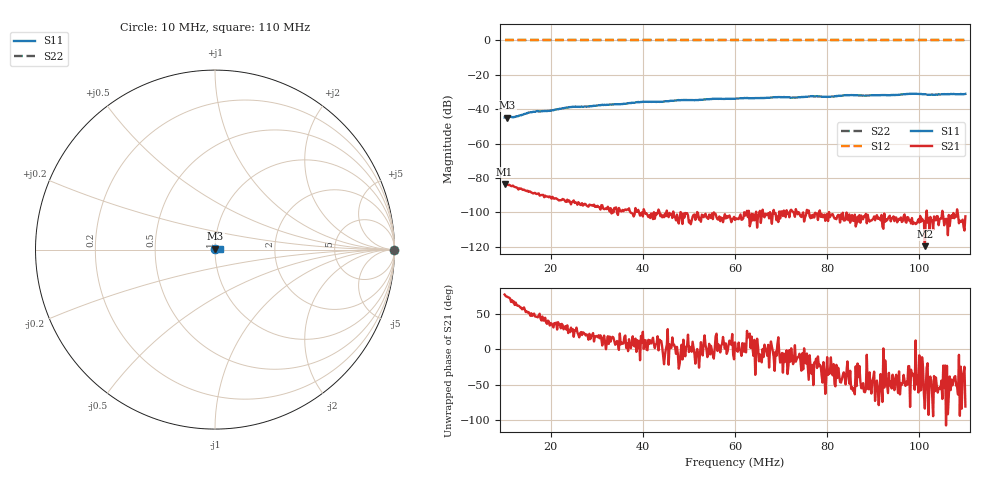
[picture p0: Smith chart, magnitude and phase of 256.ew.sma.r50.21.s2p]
! Anritsu VNA Master:  Model: MS2036C/10/77
! SN:  1601066
! /card0/usr/256.ew.sma.r50.21.s2p
! Existing Calibration Information:
! TYPE:  Current Settings,  Active Cal Settings
! TIME:  12/19/2017 02:42:59 PM,  12/19/2017 02:22:10 PM
! INTERNAL TEMP:  46.3 C,  45.0 C
! # POINTS:  501,  501
! START FREQ:  10.000 MHz,  10.000 MHz
! STOP FREQ:  110.000 MHz,  110.000 MHz
! SOURCE POWER:  High,  High
! IFBW:  100 Hz,  100 Hz
! AVG FACTOR:  1 ,  1
! REF PLANE 1:  0 mm,  0 mm
! REF PLANE 2:  0 mm,  0 mm
! CAL TYPE:  Full S11,  Full S11
! CAL METHOD:  SOLT,  SOLT
! CAL LINE TYPE:  Coax,  Coax
! DUT PORT 1:  N-Conn(F),  N-Conn(F)
! DUT PORT 2:  K-Conn(F),  K-Conn(F)
! CAL STATUS:  OK: Accuracy High,  --
# GHZ S DB R 50.0
! FREQ.GHZ  S11DB  S11A  S21DB  S21A  S12DB  S12A  S22DB  S22A
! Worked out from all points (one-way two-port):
!   501 points, 10 MHz to 110 MHz, reference 50 ohm
!   highest |S21| = -83.42 dB at 10 MHz (marker M1); lowest = -119.7 dB at 101.2 MHz (marker M2)
!   lowest |S11| = -44.8 dB at 10.6 MHz (marker M3), VSWR 1.01, Z = 50.2 + j0.521 ohm
!   |S11| at or under -10 dB: start of sweep to end of sweep
!   |S22| runs from 0.0 to 0.0 dB; largest |S21 - S12| = 1
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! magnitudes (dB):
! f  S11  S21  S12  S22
! 10 MHz  -44.8  -83.4  0.0  0.0
! 10.6 MHz  -44.8  -83.9  0.0  0.0
! 12.2 MHz  -44.5  -85.2  0.0  0.0
! 15.2 MHz  -41.9  -88.1  0.0  0.0
! 16.6 MHz  -41.4  -88.7  0.0  0.0
! 20 MHz  -40.8  -91.3  0.0  0.0
! 24.4 MHz  -38.7  -95.4  0.0  0.0
! 26.8 MHz  -38.5  -94.6  0.0  0.0
! 35.2 MHz  -37.0  -99.3  0.0  0.0
! 40 MHz  -35.7  -102.4  0.0  0.0
! 43.4 MHz  -35.6  -98.4  0.0  0.0
! 48 MHz  -34.8  -102.8  0.0  0.0
! 60 MHz  -33.9  -104.4  0.0  0.0
! 69.6 MHz  -32.9  -99.5  0.0  0.0
! 72.6 MHz  -33.2  -99.7  0.0  0.0
! 76.8 MHz  -32.4  -103.1  0.0  0.0
! 79.8 MHz  -32.7  -101.4  0.0  0.0
! 84.4 MHz  -31.8  -103.1  0.0  0.0
! 93.4 MHz  -31.8  -102.5  0.0  0.0
! 98.6 MHz  -31.0  -106.8  0.0  0.0
! 101.2 MHz  -31.3  -119.7  0.0  0.0
! 110 MHz  -31.1  -102.3  0.0  0.0
